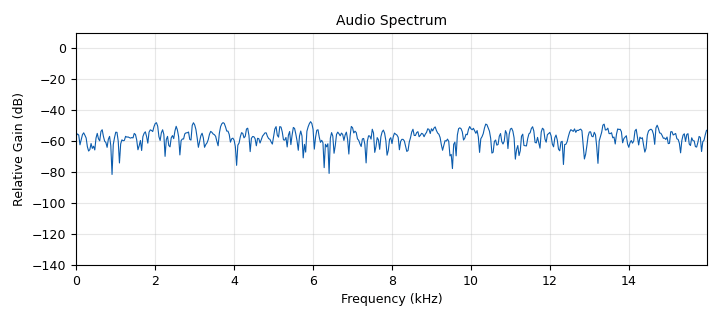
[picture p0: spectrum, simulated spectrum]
<?xml version='1.0' encoding='utf-8'?>
<?grc format='1' created='3.7.10'?>
<flow_graph>
<block>
<key>options</key>
<param><key>id</key><value>Noise_Source</value></param>
<param><key>author</key><value>Peter F Bradshaw</value></param>
<param><key>description</key><value>An audio source for the Radio Test Set program</value></param>
<param><key>generate_options</key><value>qt_gui</value></param>
<param><key>title</key><value>Noise Source</value></param>
</block>
<block>
<key>variable_qtgui_range</key>
<param><key>id</key><value>noise_amp</value></param>
<param><key>value</key><value>0.1</value></param>
<param><key>orient</key><value>Qt.Horizontal</value></param>
<param><key>start</key><value>0</value></param>
<param><key>step</key><value>0.001</value></param>
<param><key>stop</key><value>0.2</value></param>
</block>
<block>
<key>variable</key>
<param><key>id</key><value>samp_rate</value></param>
<param><key>value</key><value>32000</value></param>
</block>
<block>
<key>analog_noise_source_x</key>
<param><key>id</key><value>analog_noise_source</value></param>
<param><key>amp</key><value>noise_amp</value></param>
<param><key>noise_type</key><value>analog.GR_GAUSSIAN</value></param>
<param><key>type</key><value>float</value></param>
<param><key>seed</key><value>0</value></param>
</block>
<block>
<key>audio_sink</key>
<param><key>id</key><value>audio_sink_0</value></param>
<param><key>samp_rate</key><value>samp_rate</value></param>
</block>
<block>
<key>qtgui_freq_sink_x</key>
<param><key>id</key><value>spectrum</value></param>
<param><key>bw</key><value>samp_rate</value></param>
<param><key>fc</key><value>0</value></param>
<param><key>fftsize</key><value>1024</value></param>
<param><key>name</key><value>Audio Spectrum</value></param>
<param><key>showports</key><value>True</value></param>
<param><key>freqhalf</key><value>False</value></param>
<param><key>type</key><value>float</value></param>
<param><key>wintype</key><value>firdes.WIN_BLACKMAN_hARRIS</value></param>
</block>
<connection><source_block_id>analog_noise_source</source_block_id><sink_block_id>audio_sink_0</sink_block_id><source_key>0</source_key><sink_key>0</sink_key></connection>
<connection><source_block_id>analog_noise_source</source_block_id><sink_block_id>spectrum</sink_block_id><source_key>0</source_key><sink_key>0</sink_key></connection>
</flow_graph>
